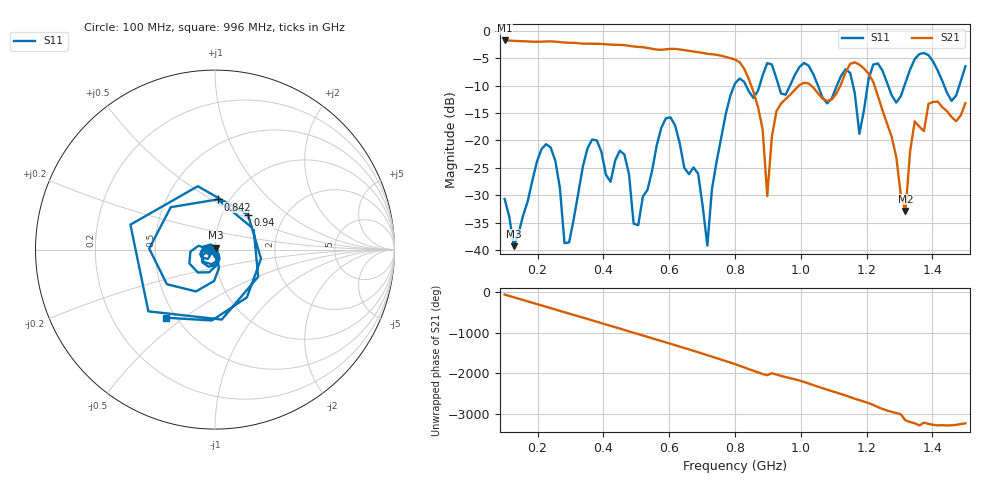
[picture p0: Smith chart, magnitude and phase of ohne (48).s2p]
! NanoVNA-App
! Date: 2025-09-26 09:55:46
! Start: 100MHz Stop: 1,5GHz Points: 101
! S-Parameter data: F S11 S21 S12 S22
# Hz S RI R 50
!  Frequency  S11_Real  S11_Imag  S21_Real  S21_Imag  S12_Real  S12_Imag  S22_Real  S22_Imag
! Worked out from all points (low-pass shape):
!   101 points, 100 MHz to 1.5 GHz, reference 50 ohm
!   highest |S21| = -1.79 dB at 100 MHz (marker M1); lowest = -32.9 dB at 1.318 GHz (marker M2)
!   |S21| within 3 dB of the highest: start of sweep to 772.2 MHz
!   lowest |S11| = -39.2 dB at 128 MHz (marker M3), VSWR 1.02, Z = 50.3 + j1.06 ohm
!   |S11| at or under -10 dB: start of sweep to 797.6 MHz; 833.4 MHz to 874.7 MHz (41.23 MHz wide, 4.83 % of centre); 1.052 GHz to 1.11 GHz (57.55 MHz wide, 5.32 % of centre) (the widest 3 of 7)
!   S12 and S22 are empty: the file has one direction only
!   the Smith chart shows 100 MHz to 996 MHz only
!   S11 on the Smith chart (normalised r, x): 100 MHz: 0.94, -0.01; 842 MHz: 0.88, +0.53; 940 MHz: 1.32, +0.55; 996 MHz: 0.44, -0.43
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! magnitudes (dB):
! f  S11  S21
! 100 MHz  -30.6  -1.8
! 128 MHz  -39.2  -1.9
! 212 MHz  -21.6  -2.0
! 282 MHz  -38.7  -2.2
! 338 MHz  -24.7  -2.4
! 464 MHz  -22.6  -2.6
! 506 MHz  -35.4  -3.0
! 576 MHz  -17.7  -3.5
! 716 MHz  -39.1  -4.2
! 800 MHz  -9.6  -5.3
! 842 MHz  -11.1  -8.8
! 898 MHz  -5.9  -30.1
! 940 MHz  -11.5  -13.3
! 996 MHz  -6.6  -9.9
! 1.038 GHz  -7.9  -10.4
! 1.15 GHz  -7.7  -6.0
! 1.178 GHz  -18.8  -6.2
! 1.22 GHz  -6.2  -9.3
! 1.276 GHz  -11.8  -19.3
! 1.318 GHz  -9.5  -32.9
! 1.346 GHz  -5.2  -16.5
! 1.5 GHz  -6.5  -13.2
